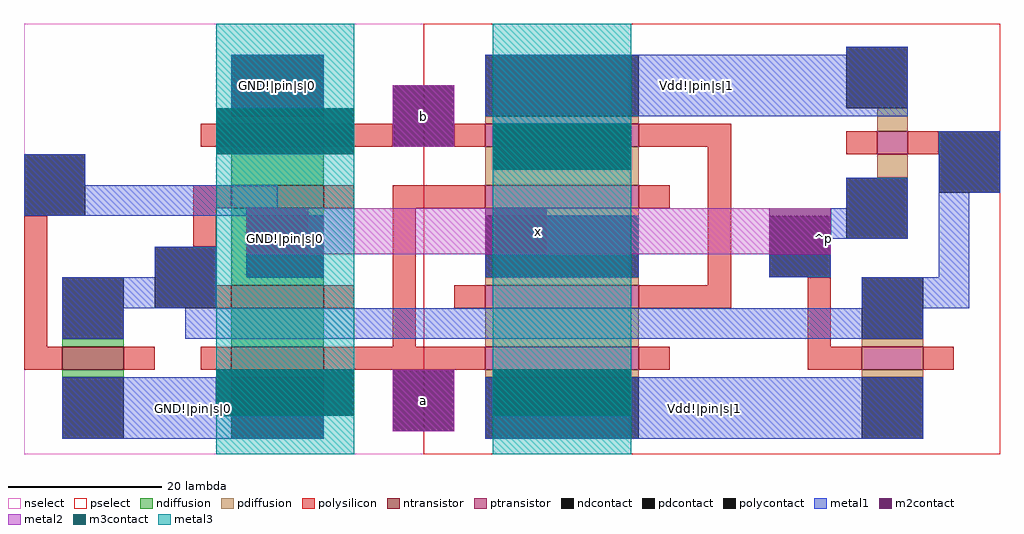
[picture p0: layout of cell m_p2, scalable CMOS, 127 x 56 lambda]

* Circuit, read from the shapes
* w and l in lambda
.subckt m_p2 GND!|pin|s|0 Vdd!|pin|s|1 a b x
M1 n1 x GND!|pin|s|0 VSUBS nfet w=8 l=3
M2 n2 a GND!|pin|s|0 VSUBS nfet w=12 l=3
M3 x n1 n2 VSUBS nfet w=12 l=3
M4 n3 n1 x VSUBS nfet w=12 l=3
M5 GND!|pin|s|0 b n3 VSUBS nfet w=12 l=3
M6 n4 a Vdd!|pin|s|1 NWELL pfet w=20 l=3
M7 x b n4 NWELL pfet w=20 l=3
M8 n5 a x NWELL pfet w=20 l=3
M9 Vdd!|pin|s|1 b n5 NWELL pfet w=20 l=3
M10 n1 x Vdd!|pin|s|1 NWELL pfet w=8 l=3
M11 Vdd!|pin|s|1 n1 x NWELL pfet w=4 l=3
.ends

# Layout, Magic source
magic
tech scmos
<< nselect >>
rect -52 -21 0 35
<< pselect >>
rect 0 -21 75 35
<< ndiffusion >>
rect -25 22 -13 23
rect -25 14 -13 19
rect -25 10 -13 11
rect -25 2 -23 10
rect -25 1 -13 2
rect -47 -7 -39 -6
rect -25 -7 -13 -2
rect -47 -11 -39 -10
rect -25 -11 -13 -10
<< pdiffusion >>
rect 8 22 28 23
rect 59 21 63 24
rect 8 14 28 19
rect 8 10 28 11
rect 8 1 28 2
rect 59 15 63 18
rect 8 -7 28 -2
rect 57 -7 65 -6
rect 8 -11 28 -10
rect 57 -11 65 -10
<< ntransistor >>
rect -25 19 -13 22
rect -25 11 -13 14
rect -25 -2 -13 1
rect -47 -10 -39 -7
rect -25 -10 -13 -7
<< ptransistor >>
rect 8 19 28 22
rect 8 11 28 14
rect 59 18 63 21
rect 8 -2 28 1
rect 8 -10 28 -7
rect 57 -10 65 -7
<< polysilicon >>
rect -29 19 -25 22
rect -13 19 -4 22
rect 4 19 8 22
rect 28 19 40 22
rect -30 11 -25 14
rect -13 11 -9 14
rect -4 11 8 14
rect 28 11 32 14
rect -52 -7 -49 10
rect -30 6 -27 11
rect -27 -2 -25 1
rect -13 -2 -9 1
rect -4 -7 -1 11
rect 37 1 40 19
rect 55 18 59 21
rect 63 18 67 21
rect 4 -2 8 1
rect 28 -2 40 1
rect 50 -7 53 2
rect -52 -10 -47 -7
rect -39 -10 -35 -7
rect -29 -10 -25 -7
rect -13 -10 8 -7
rect 28 -10 32 -7
rect 50 -10 57 -7
rect 65 -10 69 -7
<< ndcontact >>
rect -25 23 -13 31
rect -47 -6 -39 2
rect -23 2 -13 10
rect -47 -19 -39 -11
rect -25 -19 -13 -11
<< pdcontact >>
rect 8 23 28 31
rect 55 24 63 32
rect 8 2 28 10
rect 55 7 63 15
rect 57 -6 65 2
rect 8 -19 28 -11
rect 57 -19 65 -11
<< polycontact >>
rect -4 19 4 27
rect -52 10 -44 18
rect -35 -2 -27 6
rect 45 2 53 10
rect 67 13 75 21
rect -4 -18 4 -10
<< metal1 >>
rect 55 31 63 32
rect -25 24 -13 31
rect 8 23 63 31
rect 9 22 27 23
rect -52 14 -44 18
rect -52 11 -19 14
rect 55 11 63 15
rect -52 10 -23 11
rect -35 2 -27 6
rect -15 5 -13 10
rect -23 2 -13 5
rect 16 5 28 10
rect 8 2 28 5
rect 53 7 63 11
rect 67 13 75 21
rect 45 2 53 5
rect 67 2 71 13
rect -47 -2 -27 2
rect 57 -2 71 2
rect -47 -6 -39 -2
rect -31 -6 65 -2
rect -47 -16 -27 -11
rect -47 -19 -13 -16
rect 8 -16 9 -11
rect 27 -16 65 -11
rect 8 -19 65 -16
<< m2contact >>
rect -27 18 -9 24
rect -4 19 4 27
rect 9 16 27 22
rect -23 5 -15 11
rect 8 5 16 11
rect 45 5 53 11
rect -27 -16 -9 -10
rect -4 -18 4 -10
rect 9 -16 27 -10
<< metal2 >>
rect -4 19 4 27
rect -23 5 53 11
rect -4 -18 4 -10
<< m3contact >>
rect -27 18 -9 24
rect 9 16 27 22
rect -27 -16 -9 -10
rect 9 -16 27 -10
<< metal3 >>
rect -27 -21 -9 35
rect 9 -21 27 35
<< labels >>
rlabel metal2 -23 5 53 11 1 x
rlabel space 28 -21 76 35 3 ^p
rlabel metal3 -27 -21 -9 35 1 GND!|pin|s|0
rlabel metal3 9 -21 27 35 1 Vdd!|pin|s|1
rlabel metal1 -25 23 -13 31 1 GND!|pin|s|0
rlabel metal1 8 23 63 31 1 Vdd!|pin|s|1
rlabel metal2 -4 -18 4 -10 1 a
rlabel metal2 -4 19 4 27 1 b
rlabel metal1 -47 -19 -13 -11 1 GND!|pin|s|0
rlabel metal1 8 -19 65 -11 1 Vdd!|pin|s|1
<< end >>
